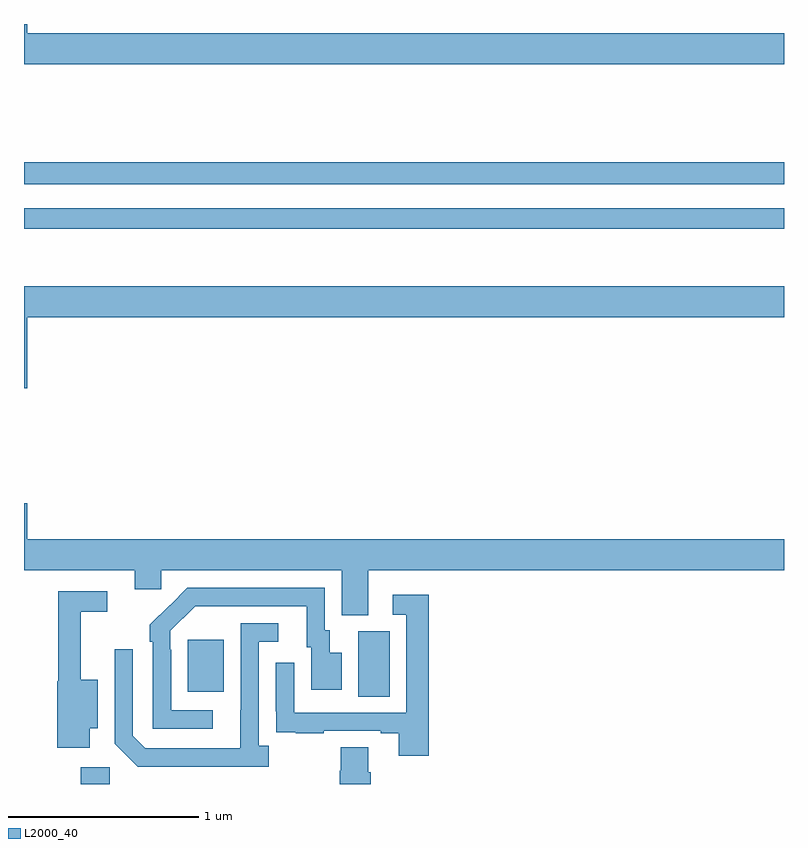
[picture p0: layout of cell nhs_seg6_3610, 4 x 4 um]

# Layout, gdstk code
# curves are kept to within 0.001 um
import gdstk
lib = gdstk.Library(unit=1e-6, precision=1e-09)
def R(c, l, rs):  # rectangles x0, y0, x1, y1
    for r in rs: c.add(gdstk.rectangle(r[:2], r[2:], *l))
def P(c, l, *ps):  # polygons
    for p in ps: c.add(gdstk.Polygon(p, *l))
L2000_40 = (2000, 40)

nhs_seg6_3610 = lib.new_cell('nhs_seg6_3610')
R(nhs_seg6_3610, L2000_40, [(321.299,991.5,321.45,991.588), (322.76,991.96,322.924,992.304), (321.863,991.985,322.051,992.26), (321,994.422,325,994.53), (321,994.656,325,994.772)])
P(nhs_seg6_3610, L2000_40, [(325,995.452),(321.016,995.452),(321.016,995.5),(321,995.5),(321,995.288),(325,995.288)],
  [(321.016,993.956),(325,993.956),(325,994.12),(321,994.12),(321,993.582),(321.016,993.582)],
  [(322.813,992.624),(325,992.624),(325,992.788),(321.016,992.788),(321.016,992.977),(321,992.977),(321,992.624),(321.584,992.624),(321.584,992.526),(321.723,992.526),(321.723,992.624),(322.673,992.624),(322.673,992.389),(322.813,992.389)],
  [(321.994,991.887),(321.774,991.887),(321.774,992.207),(321.771,992.207),(321.771,992.307),(321.9,992.436),(322.487,992.436),(322.487,992.22),(322.511,992.22),(322.511,991.995),(322.672,991.995),(322.672,992.191),(322.609,992.191),(322.609,992.31),(322.584,992.31),(322.584,992.532),(321.86,992.532),(321.663,992.337),(321.663,992.249),(321.678,992.249),(321.678,991.791),(321.994,991.791)],
  [(321.346,991.793),(321.388,991.793),(321.388,992.05),(321.299,992.05),(321.299,992.406),(321.439,992.406),(321.439,992.514),(321.181,992.514),(321.181,992.04),(321.176,992.04),(321.176,991.692),(321.346,991.692)],
  [(323.129,992.497),(322.941,992.497),(322.941,992.391),(323.013,992.391),(323.013,991.875),(322.422,991.875),(322.422,992.137),(322.326,992.137),(322.326,991.882),(322.327,991.882),(322.327,991.773),(322.429,991.773),(322.429,991.767),(322.577,991.767),(322.577,991.779),(322.877,991.779),(322.877,991.767),(322.973,991.767),(322.973,991.65),(323.129,991.65)],
  [(322.288,991.702),(322.236,991.702),(322.236,992.25),(322.339,992.25),(322.339,992.346),(322.14,992.346),(322.139,991.689),(321.639,991.689),(321.573,991.755),(321.573,992.209),(321.477,992.209),(321.477,991.713),(321.598,991.592),(322.288,991.592)],
  [(322.826,991.562),(322.813,991.562),(322.813,991.694),(322.666,991.694),(322.666,991.569),(322.661,991.569),(322.661,991.5),(322.826,991.5)])

lib.write_gds('nhs_seg6_3610.gds')
